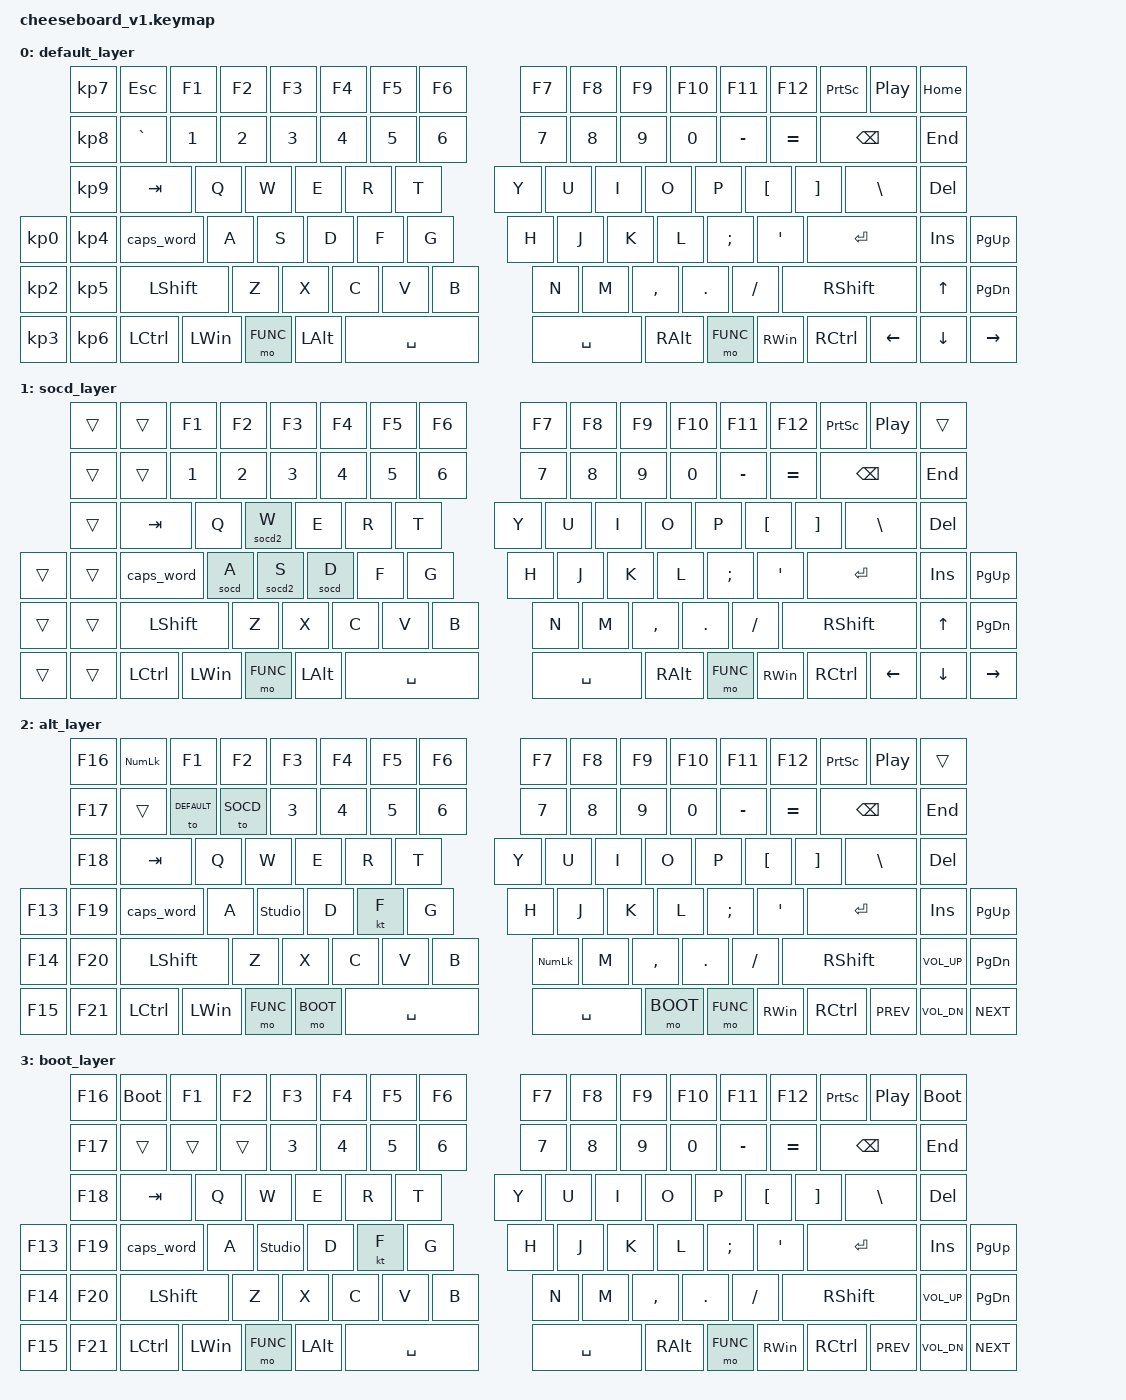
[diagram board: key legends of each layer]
#include <behaviors.dtsi>
#include <behaviors/socd.dtsi>
#include <dt-bindings/zmk/keys.h>

#define DEFAULT 0  
#define SOCD 1
#define FUNC 2
#define BOOT 3

&socd {
};


/ {    
    behaviors {
        socd2: socd2 {
            compatible = "zmk,behavior-socd";
            #binding-cells = <1>;
            bindings = <&kp>;
        };
    };

    keymap {
        compatible = "zmk,keymap";

        default_layer {
// --------------------------------------------------------------------------------------------------------------------------------------------------------------------
//       | F13 |  ESC  | F1 | F2 | F3 | F4 | F5 | F6 |     | F7 | F8 | F9 | F10 | F11 | F12 | PRTSC | SCRL | HOME |
//       | F14 | GRAVE | 1  | 2  | 3  | 4  | 5  | 6  |            |  7  |  8  |  9  |  0  |  -  |   BSPC   | END  |
//       | F15 |  TAB  | Q  | W  | E  | R  | T  |             | Y  | U  | I  | O  | P  |  [  |  ]  | BSLH  | DEL  |
// | F16 | F19 |  CAPS  | A  | S  | D  | F  | G  |          | H  | J  | K  | L  |  ;  |  '  |   ENTER     |  INS  | PGUP  |
// | F17 | F20 |  LSHIFT  | Z  | X  | C  | V  | B  |       |  N  |  M  |  ,  |  .  |  FSLH  |   RSHIFT   |   UP   | PGDN  |
// | F18 | F21 | LCTRL | WIN | FN | LALT |  SPACE  |       |   SPACE   | RALT | MENU | WIN | RTCRL  | LEFT | DOWN | RIGHT |
            bindings = <
               &kp KP_N7  &kp ESC    &kp F1    &kp F2    &kp F3    &kp F4    &kp F5    &kp F6              &kp F7    &kp F8    &kp F9    &kp F10   &kp F11   &kp F12   &kp PSCRN &kp C_PP  &kp HOME
               &kp KP_N8  &kp GRAVE  &kp N1    &kp N2    &kp N3    &kp N4    &kp N5    &kp N6              &kp N7    &kp N8    &kp N9    &kp N0    &kp MINUS &kp EQUAL &kp BSPC  &kp END
               &kp KP_N9  &kp TAB    &kp Q     &kp W     &kp E     &kp R     &kp T                         &kp Y     &kp U     &kp I     &kp O     &kp P     &kp LBKT  &kp RBKT  &kp BSLH  &kp DEL
    &kp KP_N0  &kp KP_N4  &caps_word &kp A     &kp S     &kp D     &kp F     &kp G                         &kp H     &kp J     &kp K     &kp L     &kp SEMI  &kp APOS  &kp ENTER &kp INS   &kp PG_UP
    &kp KP_N2  &kp KP_N5  &kp LSHFT  &kp Z     &kp X     &kp C     &kp V     &kp B                                   &kp N     &kp M     &kp COMMA &kp DOT   &kp FSLH  &kp RSHFT &kp UP    &kp PG_DN
    &kp KP_N3  &kp KP_N6  &kp LCTRL  &kp LWIN  &mo FUNC &kp LALT  &kp SPACE                                         &kp SPACE &kp RALT  &mo FUNC &kp RWIN  &kp RCTRL &kp LEFT  &kp DOWN  &kp RIGHT
            >;
        };
        
        socd_layer {
            bindings = <
               &trans    &trans     &kp F1    &kp F2    &kp F3    &kp F4    &kp F5    &kp F6              &kp F7    &kp F8    &kp F9    &kp F10   &kp F11   &kp F12   &kp PSCRN &kp C_PP &trans
               &trans    &trans     &kp N1    &kp N2    &kp N3    &kp N4    &kp N5    &kp N6              &kp N7    &kp N8    &kp N9    &kp N0    &kp MINUS &kp EQUAL &kp BSPC  &kp END
               &trans    &kp TAB    &kp Q     &socd2 W     &kp E     &kp R     &kp T                         &kp Y     &kp U     &kp I     &kp O     &kp P     &kp LBKT  &kp RBKT  &kp BSLH  &kp DEL
    &trans    &trans    &caps_word &socd A   &socd2 S     &socd D     &kp F    &kp G                         &kp H     &kp J     &kp K     &kp L     &kp SEMI  &kp APOS  &kp ENTER &kp INS   &kp PG_UP
    &trans    &trans    &kp LSHFT  &kp Z     &kp X     &kp C     &kp V     &kp B                                   &kp N &kp M     &kp COMMA &kp DOT   &kp FSLH  &kp RSHFT &kp UP &kp PG_DN
    &trans    &trans    &kp LCTRL  &kp LWIN  &mo FUNC &kp LALT  &kp SPACE                                         &kp SPACE &kp RALT  &mo FUNC &kp RWIN  &kp RCTRL &kp LEFT &kp DOWN &kp RIGHT
            >;
            
        };

        alt_layer {
            bindings = <
               &kp F16    &kp KP_NUM    &kp F1    &kp F2    &kp F3    &kp F4   &kp F5    &kp F6              &kp F7    &kp F8    &kp F9    &kp F10   &kp F11   &kp F12   &kp PSCRN &kp C_PP &trans
               &kp F17    &trans     &to DEFAULT &to SOCD &kp N3  &kp N4    &kp N5    &kp N6              &kp N7    &kp N8    &kp N9    &kp N0    &kp MINUS &kp EQUAL &kp BSPC  &kp END
               &kp F18    &kp TAB    &kp Q     &kp W     &kp E     &kp R     &kp T                         &kp Y     &kp U     &kp I     &kp O     &kp P     &kp LBKT  &kp RBKT  &kp BSLH  &kp DEL
    &kp F13    &kp F19    &caps_word &kp A &studio_unlock &kp D     &kt F    &kp G                         &kp H     &kp J     &kp K     &kp L     &kp SEMI  &kp APOS  &kp ENTER &kp INS   &kp PG_UP
    &kp F14    &kp F20    &kp LSHFT  &kp Z     &kp X     &kp C     &kp V     &kp B                                   &kp KP_NUM &kp M     &kp COMMA &kp DOT   &kp FSLH  &kp RSHFT &kp C_VOL_UP &kp PG_DN
    &kp F15    &kp F21    &kp LCTRL  &kp LWIN  &mo FUNC  &mo BOOT  &kp SPACE                                         &kp SPACE &mo BOOT  &mo FUNC &kp RWIN  &kp RCTRL &kp C_PREV &kp C_VOL_DN &kp C_NEXT
            >;
            
        };

        boot_layer {
            bindings = <
               &kp F16    &bootloader &kp F1    &kp F2    &kp F3    &kp F4    &kp F5    &kp F6              &kp F7    &kp F8    &kp F9    &kp F10   &kp F11   &kp F12   &kp PSCRN &kp C_PP &bootloader
               &kp F17    &trans     &trans &trans &kp N3  &kp N4    &kp N5    &kp N6                       &kp N7    &kp N8    &kp N9    &kp N0    &kp MINUS &kp EQUAL &kp BSPC  &kp END
               &kp F18    &kp TAB    &kp Q     &kp W     &kp E     &kp R     &kp T                         &kp Y     &kp U     &kp I     &kp O     &kp P     &kp LBKT  &kp RBKT  &kp BSLH  &kp DEL
    &kp F13    &kp F19    &caps_word &kp A  &studio_unlock &kp D     &kt F    &kp G                         &kp H     &kp J     &kp K     &kp L     &kp SEMI  &kp APOS  &kp ENTER &kp INS   &kp PG_UP
    &kp F14    &kp F20    &kp LSHFT  &kp Z     &kp X     &kp C     &kp V     &kp B                                   &kp N &kp M     &kp COMMA &kp DOT   &kp FSLH  &kp RSHFT &kp C_VOL_UP &kp PG_DN
    &kp F15    &kp F21    &kp LCTRL  &kp LWIN  &mo FUNC &kp LALT  &kp SPACE                                         &kp SPACE &kp RALT  &mo FUNC &kp RWIN  &kp RCTRL &kp C_PREV &kp C_VOL_DN &kp C_NEXT
            >;
            
        };

        studio_layer_1 {
            status = "reserved";
        };

        studio_layer_2 {
            status = "reserved";
        };
    };
};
